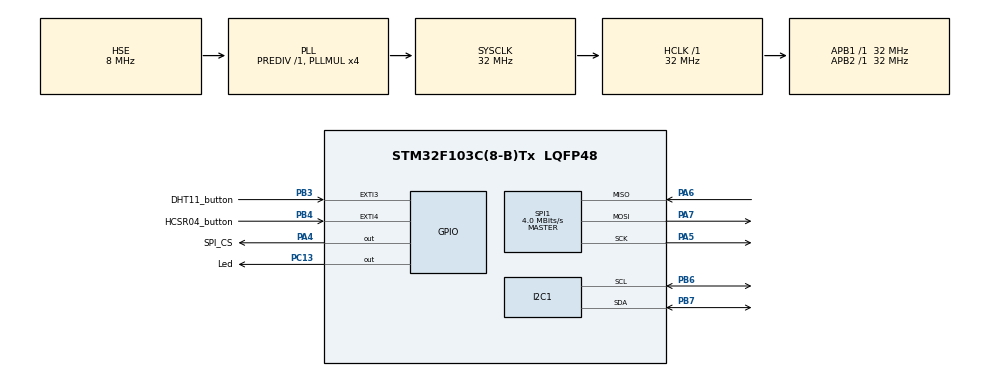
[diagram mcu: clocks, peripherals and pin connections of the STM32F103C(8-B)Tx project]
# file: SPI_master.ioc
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FREERTOS.BinarySemaphores01=BinarySemTransmitReady,Dynamic,NULL,Depleted
FREERTOS.Queues01=Queue_LCD,16,uint32_t,0,Dynamic,NULL,NULL;QueueRecieveSPI,8,uint8_t,0,Dynamic,NULL,NULL;QueueTransmit,8,uint8_t,0,Dynamic,NULL,NULL
FREERTOS.Tasks01=defaultTask,8,128,StartDefaultTask,Default,NULL,Dynamic,NULL,NULL;TaskSPI_Transac,16,128,StartTaskSPI_Transaction,Default,NULL,Dynamic,NULL,NULL;TaskDisplay,24,128,StartTaskDisplay,Default,NULL,Dynamic,NULL,NULL
FREERTOS.configTOTAL_HEAP_SIZE=5072
FREERTOS.configUSE_NEWLIB_REENTRANT=1
Mcu.Family=STM32F1
Mcu.Name=STM32F103C(8-B)Tx
Mcu.Package=LQFP48
NVIC.EXTI3_IRQn=true\:5\:0\:false\:false\:true\:true\:true\:true\:true
NVIC.EXTI4_IRQn=true\:5\:0\:false\:false\:true\:true\:true\:true\:true
NVIC.PriorityGroup=NVIC_PRIORITYGROUP_4
NVIC.SPI1_IRQn=true\:5\:0\:false\:false\:true\:true\:true\:true\:true
NVIC.TIM1_UP_IRQn=true\:15\:0\:false\:false\:true\:false\:false\:true\:true
NVIC.TimeBase=TIM1_UP_IRQn
NVIC.TimeBaseIP=TIM1
PA13.Mode=Serial_Wire
PA13.Signal=SYS_JTMS-SWDIO
PA14.Mode=Serial_Wire
PA14.Signal=SYS_JTCK-SWCLK
PA4.GPIO_Label=SPI_CS
PA4.PinState=GPIO_PIN_SET
PA4.Signal=GPIO_Output
PA5.Mode=Full_Duplex_Master
PA5.Signal=SPI1_SCK
PA6.Mode=Full_Duplex_Master
PA6.Signal=SPI1_MISO
PA7.Mode=Full_Duplex_Master
PA7.Signal=SPI1_MOSI
PB3.GPIO_Label=DHT11_button
PB3.GPIO_ModeDefaultEXTI=GPIO_MODE_IT_FALLING
PB3.GPIO_PuPd=GPIO_PULLUP
PB3.Signal=GPXTI3
PB4.GPIO_Label=HCSR04_button
PB4.GPIO_ModeDefaultEXTI=GPIO_MODE_IT_FALLING
PB4.GPIO_PuPd=GPIO_PULLUP
PB4.Signal=GPXTI4
PB6.Mode=I2C
PB6.Signal=I2C1_SCL
PB7.Mode=I2C
PB7.Signal=I2C1_SDA
PC13-TAMPER-RTC.GPIO_Label=Led
PC13-TAMPER-RTC.PinState=GPIO_PIN_SET
PC13-TAMPER-RTC.Signal=GPIO_Output
PD0-OSC_IN.Mode=HSE-External-Oscillator
PD0-OSC_IN.Signal=RCC_OSC_IN
PD1-OSC_OUT.Mode=HSE-External-Oscillator
PD1-OSC_OUT.Signal=RCC_OSC_OUT
ProjectManager.HeapSize=0x200
ProjectManager.StackSize=0x400
ProjectManager.TargetToolchain=STM32CubeIDE
RCC.AHBFreq_Value=32000000
RCC.APB1Freq_Value=32000000
RCC.APB1TimFreq_Value=32000000
RCC.APB2Freq_Value=32000000
RCC.APB2TimFreq_Value=32000000
RCC.HCLKFreq_Value=32000000
RCC.PLLMUL=RCC_PLL_MUL4
RCC.PLLSourceVirtual=RCC_PLLSOURCE_HSE
RCC.SYSCLKFreq_VALUE=32000000
RCC.SYSCLKSource=RCC_SYSCLKSOURCE_PLLCLK
RCC.USBFreq_Value=32000000
SPI1.BaudRatePrescaler=SPI_BAUDRATEPRESCALER_8
SPI1.CalculateBaudRate=4.0 MBits/s
SPI1.DataSize=SPI_DATASIZE_8BIT
SPI1.Direction=SPI_DIRECTION_2LINES
SPI1.Mode=SPI_MODE_MASTER
SPI1.VirtualType=VM_MASTER
VP_FREERTOS_VS_CMSIS_V2.Mode=CMSIS_V2
VP_SYS_VS_tim1.Mode=TIM1
board=custom

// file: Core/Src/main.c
/* USER CODE BEGIN Header */
/**
  ******************************************************************************
  * @file           : main.c
  * @brief          : Main program body
  ******************************************************************************
  * @attention
  *
  * Copyright (c) 2026 STMicroelectronics.
  * All rights reserved.
  *
  * This software is licensed under terms that can be found in the LICENSE file
  * in the root directory of this software component.
  * If no LICENSE file comes with this software, it is provided AS-IS.
  *
  ******************************************************************************
  */
/* USER CODE END Header */
#include "main.h"
#include "cmsis_os.h"

/* USER CODE BEGIN Includes */
#define BUFFER_SIZE 3
#define PCF8574_address 0x27
#define REC_CODE 0
#define SENT_CODE 1

#define DHT11_CODE 0
#define HCSR04_CODE 1
#define RESPONSE_CODE 2
#include "task.h"
#include "string.h"
#include "stdio.h"
#include "queue.h"
#include "semphr.h"
uint8_t transmitBuffer[BUFFER_SIZE];
uint8_t receiveBuffer[BUFFER_SIZE];

/* USER CODE END Includes */

I2C_HandleTypeDef hi2c1;

SPI_HandleTypeDef hspi1;

/* Definitions for defaultTask */
osThreadId_t defaultTaskHandle;
const osThreadAttr_t defaultTask_attributes = {
  .name = "defaultTask",
  .stack_size = 128 * 4,
  .priority = (osPriority_t) osPriorityLow,
};
/* Definitions for TaskSPI_Transac */
osThreadId_t TaskSPI_TransacHandle;
const osThreadAttr_t TaskSPI_Transac_attributes = {
  .name = "TaskSPI_Transac",
  .stack_size = 128 * 4,
  .priority = (osPriority_t) osPriorityBelowNormal,
};
/* Definitions for TaskDisplay */
osThreadId_t TaskDisplayHandle;
const osThreadAttr_t TaskDisplay_attributes = {
  .name = "TaskDisplay",
  .stack_size = 128 * 4,
  .priority = (osPriority_t) osPriorityNormal,
};
/* Definitions for Queue_LCD */
osMessageQueueId_t Queue_LCDHandle;
const osMessageQueueAttr_t Queue_LCD_attributes = {
  .name = "Queue_LCD"
};
/* Definitions for QueueRecieveSPI */
osMessageQueueId_t QueueRecieveSPIHandle;
const osMessageQueueAttr_t QueueRecieveSPI_attributes = {
  .name = "QueueRecieveSPI"
};
/* Definitions for QueueTransmit */
osMessageQueueId_t QueueTransmitHandle;
const osMessageQueueAttr_t QueueTransmit_attributes = {
  .name = "QueueTransmit"
};
/* Definitions for BinarySemTransmitReady */
osSemaphoreId_t BinarySemTransmitReadyHandle;
const osSemaphoreAttr_t BinarySemTransmitReady_attributes = {
  .name = "BinarySemTransmitReady"
};

void SystemClock_Config(void);
static void MX_GPIO_Init(void);
static void MX_SPI1_Init(void);
static void MX_I2C1_Init(void);
void StartDefaultTask(void *argument);
void StartTaskSPI_Transaction(void *argument);
void StartTaskDisplay(void *argument);

/* USER CODE BEGIN 0 */

void HAL_SPI_TxRxCpltCallback(SPI_HandleTypeDef *hspi)
	{
	    if (hspi->Instance == SPI1)
	    {

	    	HAL_GPIO_WritePin(SPI_CS_GPIO_Port, SPI_CS_Pin, GPIO_PIN_SET);
	        BaseType_t xHigherPriorityTaskWoken = pdTRUE;
	        xSemaphoreGiveFromISR(BinarySemTransmitReadyHandle, &xHigherPriorityTaskWoken);

	        uint32_t toSend = (receiveBuffer[0]<<16)|(receiveBuffer[1]<<8)|receiveBuffer[2];

	        xQueueSendFromISR( Queue_LCDHandle, ( void * ) &toSend, &xHigherPriorityTaskWoken);

	        portYIELD_FROM_ISR(xHigherPriorityTaskWoken);
	    }

	}

/*void HAL_SPI_TxCpltCallback(SPI_HandleTypeDef *hspi)
	{
	    if (hspi->Instance == SPI1)
	    {
	    	HAL_GPIO_WritePin(Led_GPIO_Port, Led_Pin, GPIO_PIN_RESET);
	        BaseType_t xHigherPriorityTaskWoken = pdTRUE;

	        uint8_t toSend = 0;
	        xQueueSendFromISR( QueueRecieveSPIHandle, ( void * ) &toSend, &xHigherPriorityTaskWoken);
	        portYIELD_FROM_ISR(xHigherPriorityTaskWoken);
	        HAL_GPIO_WritePin(Led_GPIO_Port, Led_Pin, GPIO_PIN_SET);
	    }

	}*/

uint32_t task1Cnt = 0;
	uint32_t task2Cnt = 0;
	LCD1602 scr;
 // Функция sendData отправляет байт данных по шине I2C
// pData - отправляемый на расширитель портов байт, например 0x25,
// где верхний полубайт 2(0b0010) соответствует линиям DB7-DB4 дисплея,
// а нижний полубайт 5(0b0101) соответствует линиям LED, E, RW, RS дисплея
void sendData(LCD1602 * scr, uint8_t * pData) {
    * pData |= (1 << E); // установка синхросигнала E=1
    while (HAL_I2C_Master_Transmit(scr -> hi2c, scr -> DevAddress, pData, 1,
            1000) != HAL_OK) {}
    HAL_Delay(25);
    * pData &= ~(1 << E); // установка синхросигнала E=0
    while (HAL_I2C_Master_Transmit(scr -> hi2c, scr -> DevAddress, pData, 1,
            1000) != HAL_OK) {}
    HAL_Delay(25);
}
// Функция начальной инициализации дисплея scr,
// выполняет инструкции в соответствии с документацией
void initLCD(LCD1602 * scr) {
    uint8_t buf;
    buf = 0x30; // первый отправляемый байт 0b00110000. Верхний полубайт представляет данные
    // нижний полубайт 0000 представляет сигналы RS,RW,E,LED
    HAL_Delay(100); // ожидание установки питающего напряжения (например, после включения устройства)
    sendData(scr, & buf); // отправка три раза байта 0b00110000
    sendData(scr, & buf); // в соответствии с инструкцией по инициализации дисплея
    sendData(scr, & buf);
    buf = 0x20; // команда 0b00100000, выбор 4-х битного интерфейса
    sendData(scr, & buf);
    buf = 0x20; // 0b00100000, выбор количества строк дисплея и шрифт
    sendData(scr, & buf);
    buf = 0xC0; // 0b11000000, N=1(две строки), F=1(5*10)
    sendData(scr, & buf);
    buf = 0; // выключение дисплея в соответствии с инструкцией
    sendData(scr, & buf);
    buf = 0x80;
    sendData(scr, & buf);
    buf = 0; // очистка дисплея
    sendData(scr, & buf);
    buf = 0x10;
    sendData(scr, & buf);
    //I/D - установка направления движения курсора после ввода символа (1 - влево, 0 - вправо)
    //S - сдвиг курсора сопровождается сдвигом символов
    buf = 0;
    sendData(scr, & buf);
    buf = 0x30;
    sendData(scr, & buf);
    buf = 0; // включение дисплея
    sendData(scr, & buf);
    buf = 0xC8;
    sendData(scr, & buf);
}

void clearLCD(LCD1602 * scr) {
	uint8_t buf;
	buf = 0; // очистка дисплея
	    sendData(scr, & buf);
	    buf = 0x10;
	    sendData(scr, & buf);
	    HAL_Delay(2);
}
// Функция writeLCD выводит символ s на дисплей scr
void writeLCD(LCD1602 * scr, uint8_t s) {
    uint8_t command;
    command = ((s & 0xf0) | 0x09); // верхний полубайт для дисплея
    sendData(scr, & command);
    command = ((s & 0x0f) << 4) | 0x09; // нижний полубайт для дисплея
    sendData(scr, & command);
}
// Функция writeStringLCD выводит строку str на дисплей src
void writeStringLCD(LCD1602 * scr, char * str) {
    for (int i = 0; i < strlen(str); i++) {
        writeLCD(scr, str[i]);
    }
}
// Функция moveXY перемещает курсор на позицию X,Y
void moveXY(LCD1602 * scr, uint8_t x, uint8_t y) {
    uint8_t command, adr;
    // проверка выхода X,Y за пределы максимальных значений
    if (y > 1) y = 1;
    if (x > 39) x = 39;
    // перевод координат X,Y в адрес памяти DDRAM
    if (y == 0)
        adr = x;
    if (y == 1)
        adr = x + 0x40;
    // так как используется 4-битный интерфейс, формируются 2 команды для перемещения в нужную позицию DDRAM
    command = ((adr & 0xf0) | 0x80) | 0x08; //adr&0xf0 выделение старшей тетрады,
    //|0x80 установка старшего бита (DB7=1)
    //|0x08 добавление 8 (1000 - LED,E,RW,RS) в младшую тетраду
    sendData(scr, & command);
    command = (adr << 4) | 0x08;
    sendData(scr, & command);
}
/* USER CODE END 0 */

int main(void)
{

  /* MCU Configuration--------------------------------------------------------*/

  /* Reset of all peripherals, Initializes the Flash interface and the Systick. */
  HAL_Init();

  /* USER CODE BEGIN Init */
  scr.hi2c = &hi2c1;
  		scr.DevAddress = (PCF8574_address<<1);
  		transmitBuffer[0]=0;
  /* USER CODE END Init */

  /* Configure the system clock */
  SystemClock_Config();

  /* Initialize all configured peripherals */
  MX_GPIO_Init();
  MX_SPI1_Init();
  MX_I2C1_Init();
  /* USER CODE BEGIN 2 */

  initLCD(&scr);

  /* USER CODE END 2 */

  /* Init scheduler */
  osKernelInitialize();

  /* Create the semaphores(s) */
  /* creation of BinarySemTransmitReady */
  BinarySemTransmitReadyHandle = osSemaphoreNew(1, 0, &BinarySemTransmitReady_attributes);

  /* Create the queue(s) */
  /* creation of Queue_LCD */
  Queue_LCDHandle = osMessageQueueNew (16, sizeof(uint32_t), &Queue_LCD_attributes);

  /* creation of QueueRecieveSPI */
  QueueRecieveSPIHandle = osMessageQueueNew (8, sizeof(uint8_t), &QueueRecieveSPI_attributes);

  /* creation of QueueTransmit */
  QueueTransmitHandle = osMessageQueueNew (8, sizeof(uint8_t), &QueueTransmit_attributes);

  /* Create the thread(s) */
  /* creation of defaultTask */
  defaultTaskHandle = osThreadNew(StartDefaultTask, NULL, &defaultTask_attributes);

  /* creation of TaskSPI_Transac */
  TaskSPI_TransacHandle = osThreadNew(StartTaskSPI_Transaction, NULL, &TaskSPI_Transac_attributes);

  /* creation of TaskDisplay */
  TaskDisplayHandle = osThreadNew(StartTaskDisplay, NULL, &TaskDisplay_attributes);

  /* Start scheduler */
  osKernelStart();

  /* We should never get here as control is now taken by the scheduler */

  /* Infinite loop */
  while (1)
  {

  }
}

void SystemClock_Config(void)
{
  RCC_OscInitTypeDef RCC_OscInitStruct = {0};
  RCC_ClkInitTypeDef RCC_ClkInitStruct = {0};

  /** Initializes the RCC Oscillators according to the specified parameters
  * in the RCC_OscInitTypeDef structure.
  */
  RCC_OscInitStruct.OscillatorType = RCC_OSCILLATORTYPE_HSE;
  RCC_OscInitStruct.HSEState = RCC_HSE_ON;
  RCC_OscInitStruct.HSEPredivValue = RCC_HSE_PREDIV_DIV1;
  RCC_OscInitStruct.HSIState = RCC_HSI_ON;
  RCC_OscInitStruct.PLL.PLLState = RCC_PLL_ON;
  RCC_OscInitStruct.PLL.PLLSource = RCC_PLLSOURCE_HSE;
  RCC_OscInitStruct.PLL.PLLMUL = RCC_PLL_MUL4;
  if (HAL_RCC_OscConfig(&RCC_OscInitStruct) != HAL_OK)
  {
    Error_Handler();
  }

  /** Initializes the CPU, AHB and APB buses clocks
  */
  RCC_ClkInitStruct.ClockType = RCC_CLOCKTYPE_HCLK|RCC_CLOCKTYPE_SYSCLK
                              |RCC_CLOCKTYPE_PCLK1|RCC_CLOCKTYPE_PCLK2;
  RCC_ClkInitStruct.SYSCLKSource = RCC_SYSCLKSOURCE_PLLCLK;
  RCC_ClkInitStruct.AHBCLKDivider = RCC_SYSCLK_DIV1;
  RCC_ClkInitStruct.APB1CLKDivider = RCC_HCLK_DIV1;
  RCC_ClkInitStruct.APB2CLKDivider = RCC_HCLK_DIV1;

  if (HAL_RCC_ClockConfig(&RCC_ClkInitStruct, FLASH_LATENCY_1) != HAL_OK)
  {
    Error_Handler();
  }
}

static void MX_I2C1_Init(void)
{

  hi2c1.Instance = I2C1;
  hi2c1.Init.ClockSpeed = 100000;
  hi2c1.Init.DutyCycle = I2C_DUTYCYCLE_2;
  hi2c1.Init.OwnAddress1 = 0;
  hi2c1.Init.AddressingMode = I2C_ADDRESSINGMODE_7BIT;
  hi2c1.Init.DualAddressMode = I2C_DUALADDRESS_DISABLE;
  hi2c1.Init.OwnAddress2 = 0;
  hi2c1.Init.GeneralCallMode = I2C_GENERALCALL_DISABLE;
  hi2c1.Init.NoStretchMode = I2C_NOSTRETCH_DISABLE;
  if (HAL_I2C_Init(&hi2c1) != HAL_OK)
  {
    Error_Handler();
  }

}

static void MX_SPI1_Init(void)
{

  /* SPI1 parameter configuration*/
  hspi1.Instance = SPI1;
  hspi1.Init.Mode = SPI_MODE_MASTER;
  hspi1.Init.Direction = SPI_DIRECTION_2LINES;
  hspi1.Init.DataSize = SPI_DATASIZE_8BIT;
  hspi1.Init.CLKPolarity = SPI_POLARITY_LOW;
  hspi1.Init.CLKPhase = SPI_PHASE_1EDGE;
  hspi1.Init.NSS = SPI_NSS_SOFT;
  hspi1.Init.BaudRatePrescaler = SPI_BAUDRATEPRESCALER_8;
  hspi1.Init.FirstBit = SPI_FIRSTBIT_MSB;
  hspi1.Init.TIMode = SPI_TIMODE_DISABLE;
  hspi1.Init.CRCCalculation = SPI_CRCCALCULATION_DISABLE;
  hspi1.Init.CRCPolynomial = 10;
  if (HAL_SPI_Init(&hspi1) != HAL_OK)
  {
    Error_Handler();
  }

}

static void MX_GPIO_Init(void)
{
  GPIO_InitTypeDef GPIO_InitStruct = {0};

  /* GPIO Ports Clock Enable */
  __HAL_RCC_GPIOC_CLK_ENABLE();
  __HAL_RCC_GPIOD_CLK_ENABLE();
  __HAL_RCC_GPIOA_CLK_ENABLE();
  __HAL_RCC_GPIOB_CLK_ENABLE();

  /*Configure GPIO pin Output Level */
  HAL_GPIO_WritePin(Led_GPIO_Port, Led_Pin, GPIO_PIN_SET);

  /*Configure GPIO pin Output Level */
  HAL_GPIO_WritePin(SPI_CS_GPIO_Port, SPI_CS_Pin, GPIO_PIN_SET);

  /*Configure GPIO pin : Led_Pin */
  GPIO_InitStruct.Pin = Led_Pin;
  GPIO_InitStruct.Mode = GPIO_MODE_OUTPUT_PP;
  GPIO_InitStruct.Pull = GPIO_NOPULL;
  GPIO_InitStruct.Speed = GPIO_SPEED_FREQ_LOW;
  HAL_GPIO_Init(Led_GPIO_Port, &GPIO_InitStruct);

  /*Configure GPIO pin : SPI_CS_Pin */
  GPIO_InitStruct.Pin = SPI_CS_Pin;
  GPIO_InitStruct.Mode = GPIO_MODE_OUTPUT_PP;
  GPIO_InitStruct.Pull = GPIO_NOPULL;
  GPIO_InitStruct.Speed = GPIO_SPEED_FREQ_LOW;
  HAL_GPIO_Init(SPI_CS_GPIO_Port, &GPIO_InitStruct);

  /*Configure GPIO pins : DHT11_button_Pin HCSR04_button_Pin */
  GPIO_InitStruct.Pin = DHT11_button_Pin|HCSR04_button_Pin;
  GPIO_InitStruct.Mode = GPIO_MODE_IT_FALLING;
  GPIO_InitStruct.Pull = GPIO_PULLUP;
  HAL_GPIO_Init(GPIOB, &GPIO_InitStruct);

  /* EXTI interrupt init*/
  HAL_NVIC_SetPriority(EXTI3_IRQn, 5, 0);
  HAL_NVIC_EnableIRQ(EXTI3_IRQn);

  HAL_NVIC_SetPriority(EXTI4_IRQn, 5, 0);
  HAL_NVIC_EnableIRQ(EXTI4_IRQn);

}

/* USER CODE BEGIN 4 */
void HAL_GPIO_EXTI_Callback(uint16_t GPIO_Pin)
{
	uint8_t toSend;
	 if (GPIO_Pin == HCSR04_button_Pin)
	 {
		 toSend = DHT11_CODE;
	 }
	 else if (GPIO_Pin == DHT11_button_Pin)
	 {
		 toSend = HCSR04_CODE;
	 }
	 BaseType_t xHigherPriorityTaskWoken = pdTRUE;
	 xQueueSendFromISR( QueueTransmitHandle, ( void * ) &toSend, &xHigherPriorityTaskWoken);
	 portYIELD_FROM_ISR(xHigherPriorityTaskWoken);
}

/* USER CODE END 4 */

void StartDefaultTask(void *argument)
{
  for(;;)
  {
    osDelay(1);
  }
}

void StartTaskSPI_Transaction(void *argument)
{
  /* USER CODE BEGIN StartTaskSPI_Transaction */
	uint16_t Received;
  /* Infinite loop */
  for(;;)
  {

		xQueueReceive( QueueTransmitHandle, &( Received ), portMAX_DELAY );
		transmitBuffer[0] = Received;
		HAL_GPIO_WritePin(SPI_CS_GPIO_Port, SPI_CS_Pin, GPIO_PIN_RESET);
		HAL_SPI_TransmitReceive_IT(&hspi1, transmitBuffer, receiveBuffer, BUFFER_SIZE);

		xSemaphoreTake(BinarySemTransmitReadyHandle, portMAX_DELAY);
		osDelay(4000);

		transmitBuffer[0] = RESPONSE_CODE;
		HAL_GPIO_WritePin(SPI_CS_GPIO_Port, SPI_CS_Pin, GPIO_PIN_RESET);
		osDelay(1000);
		HAL_SPI_TransmitReceive_IT(&hspi1, transmitBuffer, receiveBuffer, BUFFER_SIZE);

  }
  /* USER CODE END StartTaskSPI_Transaction */
}

void StartTaskDisplay(void *argument)
{
  /* USER CODE BEGIN StartTaskDisplay */
	uint16_t Received;
	  /* Infinite loop */
	  for(;;)
	  {

			  xQueueReceive( Queue_LCDHandle, &( Received ), portMAX_DELAY );
			  if ((Received>>16)==(DHT11_CODE)){
				  char str[13];
				  snprintf(str, 18, "Temperature: %u  ", (Received&255));
				  moveXY(&scr,0,0);
				  writeStringLCD(&scr,str);
				  snprintf(str, 15, "Humidity: %u  ", ((Received>>8)&255));
				  moveXY(&scr,0,1);
				  writeStringLCD(&scr,str);
			  }
			  else if ((Received>>16)==(HCSR04_CODE)){
				  char str[9];
				  snprintf(str, 15, "Distance: %u  ", (Received&65535));
				  moveXY(&scr,0,0);
				  writeStringLCD(&scr,str);
			  }

	  }
  /* USER CODE END StartTaskDisplay */
}

void HAL_TIM_PeriodElapsedCallback(TIM_HandleTypeDef *htim)
{
  if (htim->Instance == TIM1)
  {
    HAL_IncTick();
  }
}

void Error_Handler(void)
{
  __disable_irq();
  while (1)
  {
  }
}
